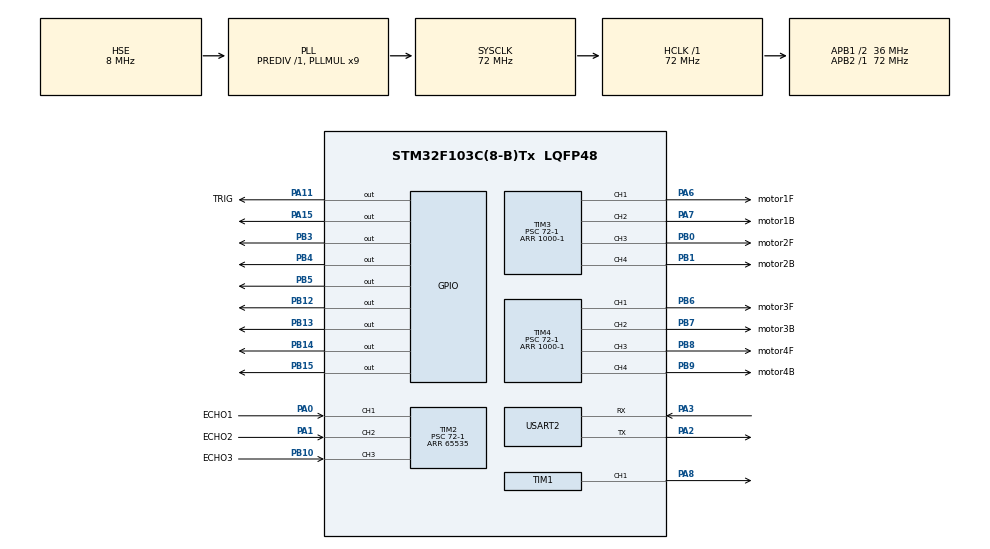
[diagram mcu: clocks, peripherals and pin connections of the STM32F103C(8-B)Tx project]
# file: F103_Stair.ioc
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Mcu.Family=STM32F1
Mcu.Name=STM32F103C(8-B)Tx
Mcu.Package=LQFP48
NVIC.PriorityGroup=NVIC_PRIORITYGROUP_4
NVIC.TIM2_IRQn=true\:0\:0\:false\:false\:true\:true\:true\:true
NVIC.TIM3_IRQn=true\:0\:0\:false\:false\:true\:true\:true\:true
PA0-WKUP.GPIO_Label=ECHO1
PA0-WKUP.Signal=S_TIM2_CH1_ETR
PA1.GPIO_Label=ECHO2
PA1.Signal=S_TIM2_CH2
PA11.GPIO_Label=TRIG
PA11.GPIO_Speed=GPIO_SPEED_FREQ_HIGH
PA11.Signal=GPIO_Output
PA13.Mode=Serial_Wire
PA13.Signal=SYS_JTMS-SWDIO
PA14.Mode=Serial_Wire
PA14.Signal=SYS_JTCK-SWCLK
PA15.Signal=GPIO_Output
PA2.Mode=Asynchronous
PA2.Signal=USART2_TX
PA3.Mode=Asynchronous
PA3.Signal=USART2_RX
PA6.GPIO_Label=motor1F
PA6.Signal=S_TIM3_CH1
PA7.GPIO_Label=motor1B
PA7.Signal=S_TIM3_CH2
PA8.Signal=S_TIM1_CH1
PB0.GPIO_Label=motor2F
PB0.Signal=S_TIM3_CH3
PB1.GPIO_Label=motor2B
PB1.Signal=S_TIM3_CH4
PB10.GPIO_Label=ECHO3
PB10.Signal=S_TIM2_CH3
PB12.Signal=GPIO_Output
PB13.Signal=GPIO_Output
PB14.Signal=GPIO_Output
PB15.Signal=GPIO_Output
PB3.Signal=GPIO_Output
PB4.Signal=GPIO_Output
PB5.Signal=GPIO_Output
PB6.GPIO_Label=motor3F
PB6.Signal=S_TIM4_CH1
PB7.GPIO_Label=motor3B
PB7.Signal=S_TIM4_CH2
PB8.GPIO_Label=motor4F
PB8.Signal=S_TIM4_CH3
PB9.GPIO_Label=motor4B
PB9.Signal=S_TIM4_CH4
PD0-OSC_IN.Mode=HSE-External-Oscillator
PD0-OSC_IN.Signal=RCC_OSC_IN
PD1-OSC_OUT.Mode=HSE-External-Oscillator
PD1-OSC_OUT.Signal=RCC_OSC_OUT
ProjectManager.HeapSize=0x200
ProjectManager.StackSize=0x400
ProjectManager.TargetToolchain=MDK-ARM V5.27
RCC.AHBFreq_Value=72000000
RCC.APB1CLKDivider=RCC_HCLK_DIV2
RCC.APB1Freq_Value=36000000
RCC.APB1TimFreq_Value=72000000
RCC.APB2Freq_Value=72000000
RCC.APB2TimFreq_Value=72000000
RCC.HCLKFreq_Value=72000000
RCC.PLLMUL=RCC_PLL_MUL9
RCC.PLLSourceVirtual=RCC_PLLSOURCE_HSE
RCC.SYSCLKFreq_VALUE=72000000
RCC.SYSCLKSource=RCC_SYSCLKSOURCE_PLLCLK
RCC.USBFreq_Value=72000000
SH.S_TIM1_CH1.0=TIM1_CH1,PWM Generation1 CH1
SH.S_TIM2_CH1_ETR.0=TIM2_CH1,Input_Capture1_from_TI1
SH.S_TIM2_CH2.0=TIM2_CH2,Input_Capture2_from_TI2
SH.S_TIM2_CH3.0=TIM2_CH3,Input_Capture3_from_TI3
SH.S_TIM3_CH1.0=TIM3_CH1,PWM Generation1 CH1
SH.S_TIM3_CH2.0=TIM3_CH2,PWM Generation2 CH2
SH.S_TIM3_CH3.0=TIM3_CH3,PWM Generation3 CH3
SH.S_TIM3_CH4.0=TIM3_CH4,PWM Generation4 CH4
SH.S_TIM4_CH1.0=TIM4_CH1,PWM Generation1 CH1
SH.S_TIM4_CH2.0=TIM4_CH2,PWM Generation2 CH2
SH.S_TIM4_CH3.0=TIM4_CH3,PWM Generation3 CH3
SH.S_TIM4_CH4.0=TIM4_CH4,PWM Generation4 CH4
TIM1.Channel-PWM\ Generation1\ CH1=TIM_CHANNEL_1
TIM1.Period=2000-1
TIM1.Prescaler=72-1
TIM2.Channel-Input_Capture1_from_TI1=TIM_CHANNEL_1
TIM2.Channel-Input_Capture2_from_TI2=TIM_CHANNEL_2
TIM2.Channel-Input_Capture3_from_TI3=TIM_CHANNEL_3
TIM2.Period=65535
TIM2.Prescaler=72-1
TIM3.Channel-PWM\ Generation1\ CH1=TIM_CHANNEL_1
TIM3.Channel-PWM\ Generation2\ CH2=TIM_CHANNEL_2
TIM3.Channel-PWM\ Generation3\ CH3=TIM_CHANNEL_3
TIM3.Channel-PWM\ Generation4\ CH4=TIM_CHANNEL_4
TIM3.Period=1000-1
TIM3.Prescaler=72-1
TIM4.Channel-PWM\ Generation1\ CH1=TIM_CHANNEL_1
TIM4.Channel-PWM\ Generation2\ CH2=TIM_CHANNEL_2
TIM4.Channel-PWM\ Generation3\ CH3=TIM_CHANNEL_3
TIM4.Channel-PWM\ Generation4\ CH4=TIM_CHANNEL_4
TIM4.Period=1000-1
TIM4.Prescaler=72-1
USART2.VirtualMode=VM_ASYNC
VP_TIM1_VS_ClockSourceINT.Mode=Internal
VP_TIM2_VS_ClockSourceINT.Mode=Internal
VP_TIM3_VS_ClockSourceINT.Mode=Internal
VP_TIM4_VS_ClockSourceINT.Mode=Internal
board=custom

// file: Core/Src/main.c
/* USER CODE BEGIN Header */
/**
  ******************************************************************************
  * @file           : main.c
  * @brief          : Main program body
  ******************************************************************************
  * @attention
  *
  * Copyright (c) 2022 STMicroelectronics.
  * All rights reserved.
  *
  * This software is licensed under terms that can be found in the LICENSE file
  * in the root directory of this software component.
  * If no LICENSE file comes with this software, it is provided AS-IS.
  *
  ******************************************************************************
  */
/* USER CODE END Header */
#include "main.h"
#include "tim.h"
#include "usart.h"
#include "gpio.h"

/* USER CODE BEGIN Includes */
#include "stdio.h"
#include "mode_GO.h"
/* USER CODE END Includes */

/* USER CODE BEGIN PV */

int32_t distStart;//检测前方是否有楼梯台阶

/* USER CODE END PV */

void SystemClock_Config(void);

int main(void)
{

  /* MCU Configuration--------------------------------------------------------*/

  /* Reset of all peripherals, Initializes the Flash interface and the Systick. */
  HAL_Init();

  /* Configure the system clock */
  SystemClock_Config();

  /* Initialize all configured peripherals */
  MX_GPIO_Init();
  MX_TIM1_Init();
  MX_TIM2_Init();
  MX_TIM3_Init();
  MX_TIM4_Init();
  MX_USART2_UART_Init();
  /* USER CODE BEGIN 2 */

	//使用串口作为用户交互命令
	uint8_t RecData;
	printf("Input '1' to START the machine");
	scanf("%c",&RecData);
	distStart = GetSR04Range_ECHO1();
	distStart = CalcuDist(distStart);

  /* USER CODE END 2 */

  /* Infinite loop */
  while (1)
  {

    /* USER CODE BEGIN 3 */
		if(RecData == 1 && distStart <= 3) //收到命令且前沿靠台阶时
		{
			uint32_t CMDflag = 0;
			uint32_t OUT = 1;
			while(CMDflag == 0)
			{
				OUT = Side2Side();
				if(OUT == DONE){
					OUT = 1;
					CMDflag++;
					break;}
			}
			while(CMDflag == 1)
			{

				OUT = UpStairs_DDD2UUD();
				if(OUT == DONE){
					OUT = 1;
					CMDflag++;
					break;}
			}
			while(CMDflag == 2)
			{

				OUT = Side2Side();
				if(OUT == DONE){
					OUT = 1;
					CMDflag++;
					break;}
			}
			while(CMDflag == 3)
			{

				OUT = UUD2UUU();
				if(OUT == DONE){
					OUT = 1;
					CMDflag = 0;
					break;}
			}
		}else if(RecData == 1){printf("Please put the machine in front of the stairs !!");}

  }
  /* USER CODE END 3 */
}

void SystemClock_Config(void)
{
  RCC_OscInitTypeDef RCC_OscInitStruct = {0};
  RCC_ClkInitTypeDef RCC_ClkInitStruct = {0};

  /** Initializes the RCC Oscillators according to the specified parameters
  * in the RCC_OscInitTypeDef structure.
  */
  RCC_OscInitStruct.OscillatorType = RCC_OSCILLATORTYPE_HSE;
  RCC_OscInitStruct.HSEState = RCC_HSE_ON;
  RCC_OscInitStruct.HSEPredivValue = RCC_HSE_PREDIV_DIV1;
  RCC_OscInitStruct.HSIState = RCC_HSI_ON;
  RCC_OscInitStruct.PLL.PLLState = RCC_PLL_ON;
  RCC_OscInitStruct.PLL.PLLSource = RCC_PLLSOURCE_HSE;
  RCC_OscInitStruct.PLL.PLLMUL = RCC_PLL_MUL9;
  if (HAL_RCC_OscConfig(&RCC_OscInitStruct) != HAL_OK)
  {
    Error_Handler();
  }

  /** Initializes the CPU, AHB and APB buses clocks
  */
  RCC_ClkInitStruct.ClockType = RCC_CLOCKTYPE_HCLK|RCC_CLOCKTYPE_SYSCLK
                              |RCC_CLOCKTYPE_PCLK1|RCC_CLOCKTYPE_PCLK2;
  RCC_ClkInitStruct.SYSCLKSource = RCC_SYSCLKSOURCE_PLLCLK;
  RCC_ClkInitStruct.AHBCLKDivider = RCC_SYSCLK_DIV1;
  RCC_ClkInitStruct.APB1CLKDivider = RCC_HCLK_DIV2;
  RCC_ClkInitStruct.APB2CLKDivider = RCC_HCLK_DIV1;

  if (HAL_RCC_ClockConfig(&RCC_ClkInitStruct, FLASH_LATENCY_2) != HAL_OK)
  {
    Error_Handler();
  }
}

/* USER CODE BEGIN 4 */
int fputc(int ch,FILE *f)
{
	HAL_UART_Transmit(&huart2 ,(uint8_t *)&ch,1,HAL_MAX_DELAY );
	return ch;
}

int fgetc(FILE *f)
{
	uint8_t ch;
	HAL_UART_Receive (&huart2,(uint8_t *)&ch,1,HAL_MAX_DELAY );
	return ch;
}

/* USER CODE END 4 */

void Error_Handler(void)
{
  __disable_irq();
  while (1)
  {
  }
}
